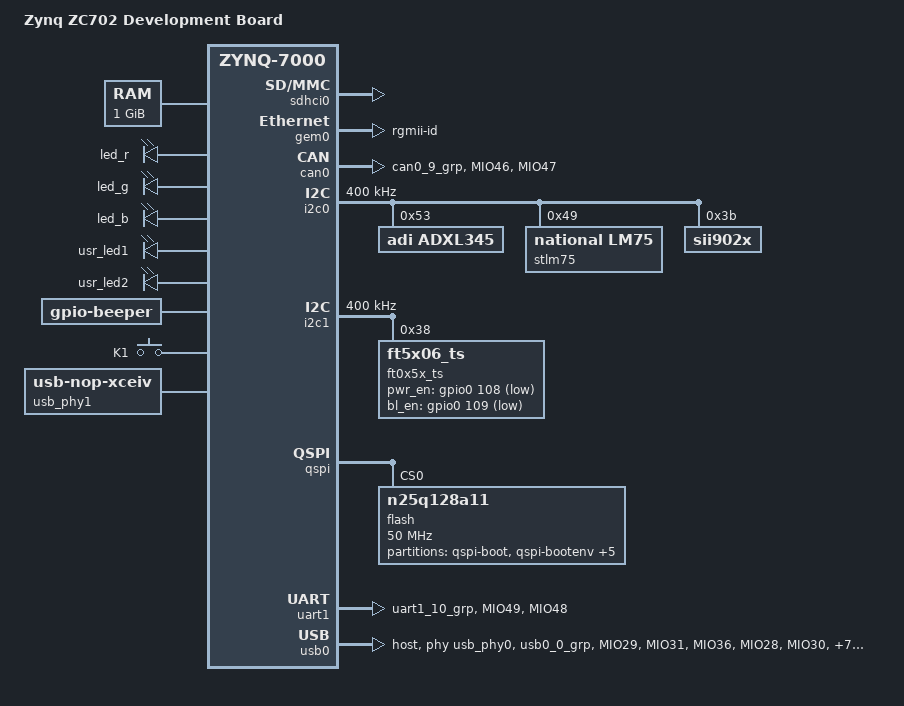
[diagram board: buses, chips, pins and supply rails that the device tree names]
// SPDX-License-Identifier: GPL-2.0+
/*
 *  Copyright (C) 2011 - 2015 Xilinx
 *  Copyright (C) 2012 National Instruments Corp.
 */
/dts-v1/;
#include "zynq-7000.dtsi"
// #include "zturn-pl-cam.dtsi"
// #include "zturn-pl-hdmi.dtsi"

/ {
	model = "Zynq ZC702 Development Board";
	compatible = "xlnx,zynq-zc702", "xlnx,zynq-7000";

	aliases {
		ethernet0 = &gem0;
		i2c0 = &i2c0;
		serial0 = &uart1;
		spi0 = &qspi;
		mmc0 = &sdhci0;
		// usb0 = &usb0;
	};

	memory@0 {
		device_type = "memory";
		reg = <0x0 0x40000000>;
	};

	chosen {
		bootargs = "console=ttyPS0,115200 root=/dev/ram cma=25M rw earlyprintk";
		stdout-path = "serial0:115200n8";
	};

	gpio-leds {
		compatible = "gpio-leds";

		led_r {
			label = "led_r";
			gpios = <0x4 0x72 0x1>;
			default-state = "off";
			linux,default-trigger = "heartbeat";
		};

		led_g {
			label = "led_g";
			gpios = <0x4 0x73 0x1>;
			default-state = "off";
			linux,default-trigger = "heartbeat";
		};

		led_b {
			label = "led_b";
			gpios = <0x4 0x74 0x1>;
			default-state = "on";
			linux,default-trigger = "heartbeat";
		};

		usr_led1 {
			label = "usr_led1";
			gpios = <0x4 0x0 0x1>;
			default-state = "off";
			linux,default-trigger = "none";
		};

		usr_led2 {
			label = "usr_led2";
			gpios = <0x4 0x9 0x1>;
			default-state = "off";
			linux,default-trigger = "none";
		};
	};

	gpio-beep {
		compatible = "gpio-beeper";
		lable = "pl-beep";
		gpios = <0x4 0x75 0x0>;
	};

	gpio-keys {
		compatible = "gpio-keys";
		#address-cells = <0x1>;
		#size-cells = <0x0>;
		autorepeat;

		K1 {
			label = "K1";
			gpios = <0x4 0x32 0x1>;
			linux,code = <0x66>;
			gpio-key,wakeup;
			autorepeat;
		};
	};

	usb_phy0: phy0@e0002000 {
		compatible = "ulpi-phy";
		#phy-cells = <0>;
		reg = <0xe0002000 0x1000>;
		view-port = <0x0170>;
		drv-vbus;
	};

	usb_phy1: usb_phy@0 {
		compatible = "usb-nop-xceiv";
		#phy-cells = <0x0>;
		reset-gpios = <0x6 0x2e 0x1>;
	};

};

&sdhci0 {
	status = "okay";
};

&gem0 {
	local-mac-address = [00 0a 35 00 00 00];
	phy-mode = "rgmii-id";
	status = "okay";
	xlnx,ptp-enet-clock = <0x69f6bcb>;
};

&can0 {
	status = "okay";
	pinctrl-names = "default";
	pinctrl-0 = <&pinctrl_can0_default>;
};

&clkc {
	ps-clk-frequency = <33333333>;
};

&gpio0 {
	compatible = "xlnx,zynq-gpio-1.0";
	#gpio-cells = <0x2>;
	clocks = <0x1 0x2a>;
	gpio-controller;
	interrupt-parent = <0x3>;
	interrupts = <0x0 0x14 0x4>;
	reg = <0xe000a000 0x1000>;
	emio-gpio-width = <0x40>;
	gpio-mask-high = <0x0>;
	gpio-mask-low = <0x5600>;
	xlnx,emio-gpio-width = <0x40>;
	xlnx,mio-gpio-mask = <0x5600>;
	linux,phandle = <0x4>;
	phandle = <0x4>;
};

&i2c0 {
	compatible = "cdns,i2c-r1p10";
	status = "okay";
	clocks = <0x1 0x26>;
	interrupt-parent = <0x3>;
	interrupts = <0x0 0x19 0x4>;
	reg = <0xe0004000 0x1000>;
	#address-cells = <0x1>;
	#size-cells = <0x0>;
	clock-frequency = <0x61a80>;
	xlnx,has-interrupt = <0x1>;

	adxl345@53 {
		compatible = "adi,adxl345";
		reg = <0x53>;
		interrupt-parent = <0x3>;
		interrupts = <0x0 0x1f 0x4>;
	};

	stlm75@49 {
		status = "okay";
		compatible = "national,lm75";
		reg = <0x49>;
		interrupts = <0x0 0x20 0x4>;
	};

	sii902x@3b {
		compatible = "sii902x";
		reg = <0x3b>;
		interrupt-parent = <0x3>;
		interrupts = <0x0 29 0x4>;
		mode_str = "1920x1080";
		bits-per-pixel = <0x10>;
	};
};

&i2c1 {
	compatible = "cdns,i2c-r1p10";
	status = "okay";
	clocks = <0x1 0x27>;
	interrupt-parent = <0x3>;
	interrupts = <0x0 0x30 0x4>;
	reg = <0xe0005000 0x1000>;
	#address-cells = <0x1>;
	#size-cells = <0x0>;
	clock-frequency = <0x61a80>;
	xlnx,has-interrupt = <0x1>;

	ft0x5x_ts@38 {
		compatible = "ft5x06_ts";
		reg = <0x38>;
		tp_int = <0x4 106 0x1>;
		tp_resetn = <0x4 107 0x1>;
		pwr_en = <&gpio0 108 1>;
		bl_en = <&gpio0 109 1>;	
		polling_mode = [00];
		multi_touch = [00];
	};
};

&pinctrl0 {
	pinctrl_can0_default: can0-default {
		mux {
			function = "can0";
			groups = "can0_9_grp";
		};

		conf {
			groups = "can0_9_grp";
			slew-rate = <0>;
			io-standard = <1>;
		};

		conf-rx {
			pins = "MIO46";
			bias-high-impedance;
		};

		conf-tx {
			pins = "MIO47";
			bias-disable;
		};
	};

	pinctrl_gpio0_default: gpio0-default {
		mux {
			function = "gpio0";
			groups = "gpio0_7_grp", "gpio0_8_grp", "gpio0_9_grp",
				 "gpio0_10_grp", "gpio0_11_grp", "gpio0_12_grp",
				 "gpio0_13_grp", "gpio0_14_grp";
		};

		conf {
			groups = "gpio0_7_grp", "gpio0_8_grp", "gpio0_9_grp",
				 "gpio0_10_grp", "gpio0_11_grp", "gpio0_12_grp",
				 "gpio0_13_grp", "gpio0_14_grp";
			slew-rate = <0>;
			io-standard = <1>;
		};

		conf-pull-up {
			pins = "MIO9", "MIO10", "MIO11", "MIO12", "MIO13", "MIO14";
			bias-pull-up;
		};

		conf-pull-none {
			pins = "MIO7", "MIO8";
			bias-disable;
		};
	};

	pinctrl_i2c0_default: i2c0-default {
		mux {
			groups = "i2c0_10_grp";
			function = "i2c0";
		};

		conf {
			groups = "i2c0_10_grp";
			bias-pull-up;
			slew-rate = <0>;
			io-standard = <1>;
		};
	};

	pinctrl_i2c0_gpio: i2c0-gpio {
		mux {
			groups = "gpio0_50_grp", "gpio0_51_grp";
			function = "gpio0";
		};

		conf {
			groups = "gpio0_50_grp", "gpio0_51_grp";
			slew-rate = <0>;
			io-standard = <1>;
		};
	};

	pinctrl_uart1_default: uart1-default {
		mux {
			groups = "uart1_10_grp";
			function = "uart1";
		};

		conf {
			groups = "uart1_10_grp";
			slew-rate = <0>;
			io-standard = <1>;
		};

		conf-rx {
			pins = "MIO49";
			bias-high-impedance;
		};

		conf-tx {
			pins = "MIO48";
			bias-disable;
		};
	};

	pinctrl_usb0_default: usb0-default {
		mux {
			groups = "usb0_0_grp";
			function = "usb0";
		};

		conf {
			groups = "usb0_0_grp";
			slew-rate = <0>;
			io-standard = <1>;
		};

		conf-rx {
			pins = "MIO29", "MIO31", "MIO36";
			bias-high-impedance;
		};

		conf-tx {
			pins = "MIO28", "MIO30", "MIO32", "MIO33", "MIO34",
			       "MIO35", "MIO37", "MIO38", "MIO39";
			bias-disable;
		};
	};
};

&qspi {
	u-boot,dm-pre-reloc;
	status = "okay";
	is-dual = <0>;
	num-cs = <1>;
	flash@0 {
		compatible = "n25q128a11";
		reg = <0x0>;
		spi-tx-bus-width = <1>;
		spi-rx-bus-width = <4>;
		spi-max-frequency = <50000000>;
		#address-cells = <1>;
		#size-cells = <1>;

		partition@qspi-boot {
			label = "qspi-boot";
			reg = <0x0 0x80000>;
		};

		partition@qspi-bootenv {
			label = "qspi-bootenv";
			reg = <0x80000 0x20000>;
		};

		partition@qspi-bitstream {
			label = "qspi-bitstream";
			reg = <0xa0000 0x460000>;
		};

		partition@qspi-kernel {
			label = "qspi-kernel";
			reg = <0x500000 0x480000>;
		};

		partition@qspi-devicetree {
			label = "qspi-devicetree";
			reg = <0x980000 0x10000>;
		};

		partition@qspi-rootfs {
			label = "qspi-rootfs";
			reg = <0x990000 0x600000>;
		};

		partition@qspi-data {
			label = "data";
			reg = <0xf90000 0x70000>;
		};
	};
};

&uart1 {
	u-boot,dm-pre-reloc;
	status = "okay";
	pinctrl-names = "default";
	pinctrl-0 = <&pinctrl_uart1_default>;
};

&usb0 {
	status = "okay";
	dr_mode = "host";
	usb-phy = <&usb_phy0>;
	pinctrl-names = "default";
	pinctrl-0 = <&pinctrl_usb0_default>;
};
